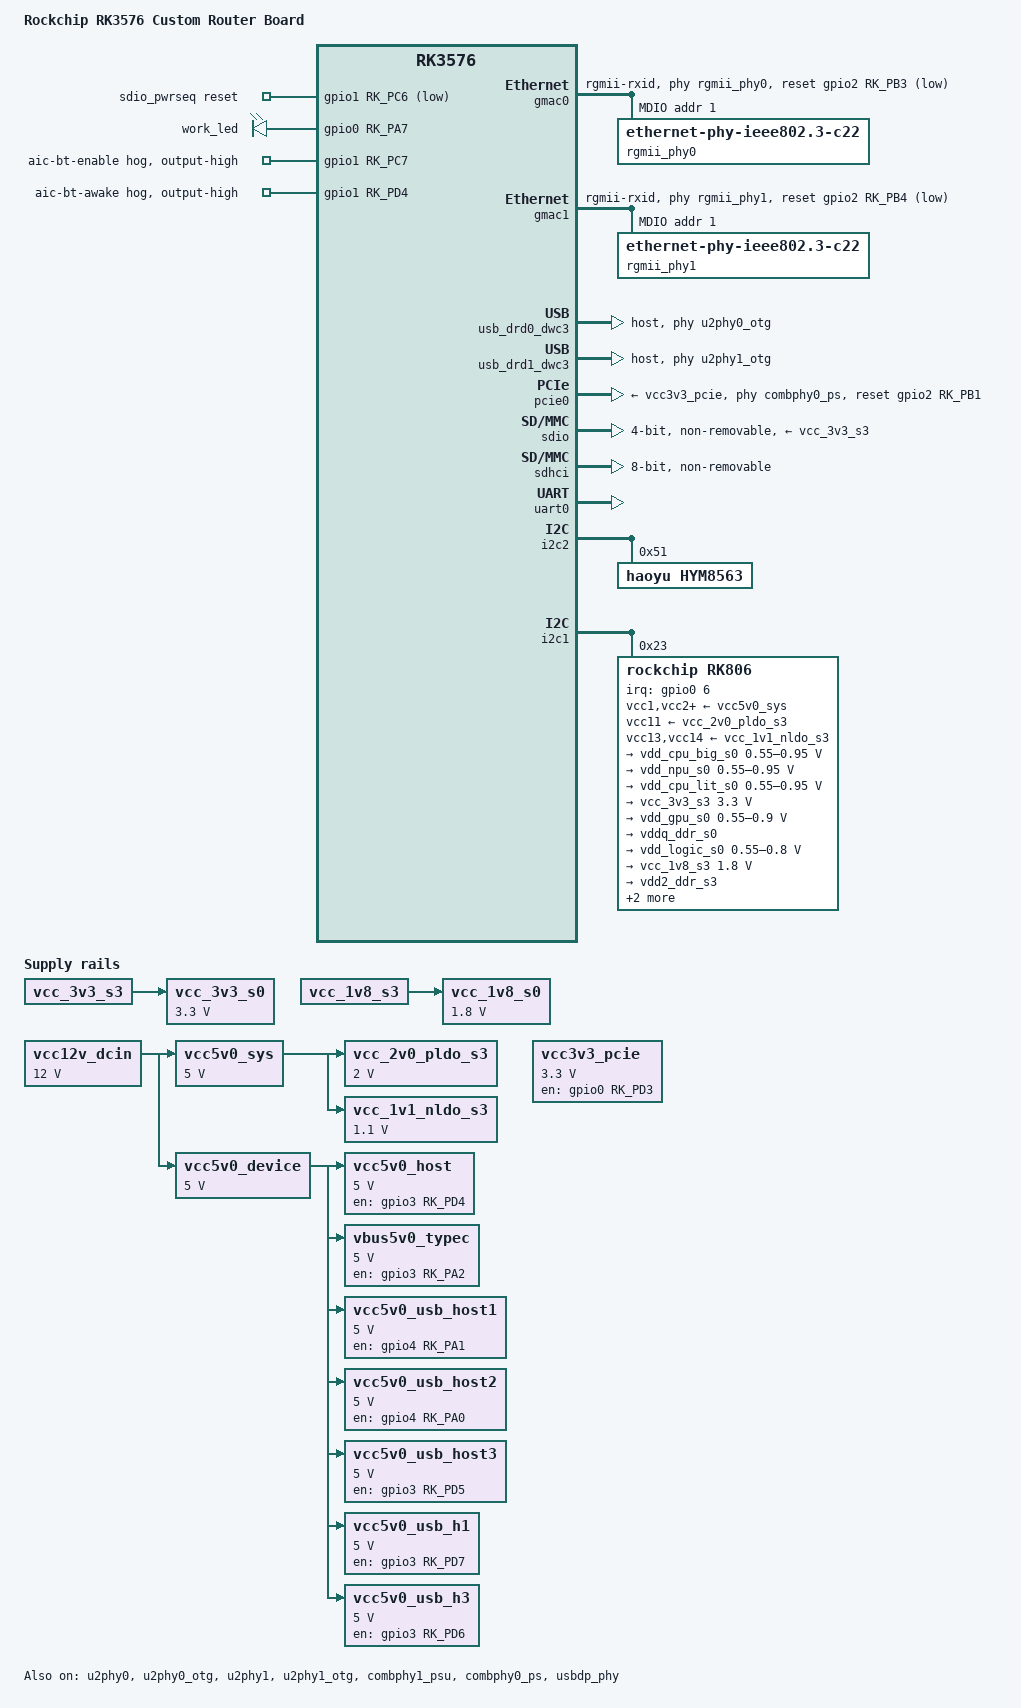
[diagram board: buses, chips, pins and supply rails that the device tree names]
// SPDX-License-Identifier: (GPL-2.0+ OR MIT)
/*
 * Copyright (c) 2026 OpenWrt / LEDE Project
 * Device Tree for Rockchip RK3576 Custom Board
 * Features:
 *  - Dual Gigabit Ethernet (GMAC0, GMAC1 / RGMII)
 *  - Dual USB 3.0 (DWC3 DRD0 & DRD1) + USB 2.0 Host / Hub
 *  - Display pipeline deferred: Android dump describes DSI/CS5518;
 *    no unverified DP controller is instantiated for this kernel.
 *  - PCIe 2.0 (RC Mode with 3.3V power regulator and PERST GPIO)
 *  - SKI.WB800D80S.1 (AIC8800D80) SDIO WiFi + native SDIO HCI Bluetooth
 *  - RK806 I2C PMIC and CPU regulator supplies
 *  - eMMC 5.1 Storage
 */

/dts-v1/;

#include <dt-bindings/clock/rockchip,rk3576-cru.h>
#include <dt-bindings/phy/phy.h>
#include <dt-bindings/gpio/gpio.h>
#include <dt-bindings/pinctrl/rockchip.h>
#include <dt-bindings/interrupt-controller/arm-gic.h>
#include <dt-bindings/interrupt-controller/irq.h>
#include "rk3576.dtsi"

/ {
	model = "Rockchip RK3576 Custom Router Board";
	compatible = "rockchip,rk3576-custom-router", "rockchip,rk3576";

	aliases {
		ethernet0 = &gmac0;
		ethernet1 = &gmac1;
		mmc0 = &sdhci;
		mmc1 = &sdio;
	};

	chosen {
		stdout-path = "serial0:1500000n8";
	};

	/* 电源输入 12V DC */
	vcc12v_dcin: vcc12v-dcin {
		compatible = "regulator-fixed";
		regulator-name = "vcc12v_dcin";
		regulator-always-on;
		regulator-boot-on;
		regulator-min-microvolt = <12000000>;
		regulator-max-microvolt = <12000000>;
	};

	/* 5V 系统总线电源 */
	vcc5v0_sys: vcc5v0-sys {
		compatible = "regulator-fixed";
		regulator-name = "vcc5v0_sys";
		regulator-always-on;
		regulator-boot-on;
		regulator-min-microvolt = <5000000>;
		regulator-max-microvolt = <5000000>;
		vin-supply = <&vcc12v_dcin>;
	};

	vcc5v0_device: vcc5v0-device {
		compatible = "regulator-fixed";
		regulator-name = "vcc5v0_device";
		regulator-always-on;
		regulator-boot-on;
		regulator-min-microvolt = <5000000>;
		regulator-max-microvolt = <5000000>;
		vin-supply = <&vcc12v_dcin>;
	};

	/* USB 5V VBUS 供电控制 (GPIO3_D4 = GPIO124, GPIO3_A2 = GPIO98) */
	vcc5v0_host: vcc5v0-host {
		compatible = "regulator-fixed";
		regulator-name = "vcc5v0_host";
		regulator-boot-on;
		regulator-always-on;
		regulator-min-microvolt = <5000000>;
		regulator-max-microvolt = <5000000>;
		enable-active-high;
		gpio = <&gpio3 RK_PD4 GPIO_ACTIVE_HIGH>;
		vin-supply = <&vcc5v0_device>;
		pinctrl-names = "default";
		pinctrl-0 = <&usb_host_pwren>;
	};

	vbus5v0_typec: vbus5v0-typec {
		compatible = "regulator-fixed";
		regulator-name = "vbus5v0_typec";
		regulator-min-microvolt = <5000000>;
		regulator-max-microvolt = <5000000>;
		enable-active-high;
		gpio = <&gpio3 RK_PA2 GPIO_ACTIVE_HIGH>;
		vin-supply = <&vcc5v0_device>;
		pinctrl-names = "default";
		pinctrl-0 = <&usb_otg0_pwren>;
	};

	/* USB Host 额外端口供电 (GPIO4_A1, GPIO4_A0, GPIO3_D5) */
	vcc5v0_usb_host1: vcc5v0-usb-host1 {
		compatible = "regulator-fixed";
		regulator-name = "vcc5v0_usb_host1";
		regulator-boot-on;
		regulator-always-on;
		regulator-min-microvolt = <5000000>;
		regulator-max-microvolt = <5000000>;
		enable-active-high;
		gpio = <&gpio4 RK_PA1 GPIO_ACTIVE_HIGH>;
		vin-supply = <&vcc5v0_device>;
	};

	vcc5v0_usb_host2: vcc5v0-usb-host2 {
		compatible = "regulator-fixed";
		regulator-name = "vcc5v0_usb_host2";
		regulator-boot-on;
		regulator-always-on;
		regulator-min-microvolt = <5000000>;
		regulator-max-microvolt = <5000000>;
		enable-active-high;
		gpio = <&gpio4 RK_PA0 GPIO_ACTIVE_HIGH>;
		vin-supply = <&vcc5v0_device>;
	};

	vcc5v0_usb_host3: vcc5v0-usb-host3 {
		compatible = "regulator-fixed";
		regulator-name = "vcc5v0_usb_host3";
		regulator-boot-on;
		regulator-always-on;
		regulator-min-microvolt = <5000000>;
		regulator-max-microvolt = <5000000>;
		enable-active-high;
		gpio = <&gpio3 RK_PD5 GPIO_ACTIVE_HIGH>;
		vin-supply = <&vcc5v0_device>;
	};

	/* EDF: GPIO3_D7 -> R71 -> U2.EN -> H1 VBUS. */
	vcc5v0_usb_h1: vcc5v0-usb-h1 {
		compatible = "regulator-fixed";
		regulator-name = "vcc5v0_usb_h1";
		regulator-boot-on;
		regulator-always-on;
		regulator-min-microvolt = <5000000>;
		regulator-max-microvolt = <5000000>;
		enable-active-high;
		gpio = <&gpio3 RK_PD7 GPIO_ACTIVE_HIGH>;
		vin-supply = <&vcc5v0_device>;
		pinctrl-names = "default";
		pinctrl-0 = <&usb_h1_pwren>;
	};

	/* EDF: GPIO3_D6 -> R102 -> U17.EN -> H3 VBUS. */
	vcc5v0_usb_h3: vcc5v0-usb-h3 {
		compatible = "regulator-fixed";
		regulator-name = "vcc5v0_usb_h3";
		regulator-boot-on;
		regulator-always-on;
		regulator-min-microvolt = <5000000>;
		regulator-max-microvolt = <5000000>;
		enable-active-high;
		gpio = <&gpio3 RK_PD6 GPIO_ACTIVE_HIGH>;
		vin-supply = <&vcc5v0_device>;
		pinctrl-names = "default";
		pinctrl-0 = <&usb_h3_pwren>;
	};

	/* PCIe 3.3V 供电控制 (GPIO0_D3 = GPIO27) */
	vcc3v3_pcie: vcc3v3-pcie-regulator {
		compatible = "regulator-fixed";
		regulator-name = "vcc3v3_pcie";
		enable-active-high;
		regulator-always-on;
		regulator-boot-on;
		regulator-min-microvolt = <3300000>;
		regulator-max-microvolt = <3300000>;
		gpio = <&gpio0 RK_PD3 GPIO_ACTIVE_HIGH>;
	};

	/* SDIO WiFi 电源时序控制 (GPIO1_C6 = GPIO54 负责 WiFi 上电复位) */
	sdio_pwrseq: sdio-pwrseq {
		compatible = "mmc-pwrseq-simple";
		clocks = <&hym8563>;
		clock-names = "ext_clock";
		pinctrl-names = "default";
		pinctrl-0 = <&wifi_poweren_gpio>;
		post-power-on-delay-ms = <200>;
		reset-gpios = <&gpio1 RK_PC6 GPIO_ACTIVE_LOW>;
		status = "okay";
	};

	/* External converters and hardware-switched S0 rails; no GPIO ownership. */
	vcc_2v0_pldo_s3: regulator-vcc-2v0-pldo-s3 {
		compatible = "regulator-fixed";
		regulator-name = "vcc_2v0_pldo_s3";
		regulator-min-microvolt = <2000000>;
		regulator-max-microvolt = <2000000>;
		regulator-always-on;
		regulator-boot-on;
		vin-supply = <&vcc5v0_sys>;
	};

	vcc_1v1_nldo_s3: regulator-vcc-1v1-nldo-s3 {
		compatible = "regulator-fixed";
		regulator-name = "vcc_1v1_nldo_s3";
		regulator-min-microvolt = <1100000>;
		regulator-max-microvolt = <1100000>;
		regulator-always-on;
		regulator-boot-on;
		vin-supply = <&vcc5v0_sys>;
	};

	vcc_3v3_s0: regulator-vcc-3v3-s0 {
		compatible = "regulator-fixed";
		regulator-name = "vcc_3v3_s0";
		regulator-min-microvolt = <3300000>;
		regulator-max-microvolt = <3300000>;
		regulator-always-on;
		regulator-boot-on;
		vin-supply = <&vcc_3v3_s3>;
	};

	vcc_1v8_s0: regulator-vcc-1v8-s0 {
		compatible = "regulator-fixed";
		regulator-name = "vcc_1v8_s0";
		regulator-min-microvolt = <1800000>;
		regulator-max-microvolt = <1800000>;
		regulator-always-on;
		regulator-boot-on;
		vin-supply = <&vcc_1v8_s3>;
	};

	/* 板载状态指示灯 (GPIO0_A7 = GPIO7) */
	leds: leds {
		compatible = "gpio-leds";

		work_led: work {
			gpios = <&gpio0 RK_PA7 GPIO_ACTIVE_HIGH>;
			linux,default-trigger = "heartbeat";
			default-state = "on";
		};
	};

	/* Display migration is deferred, not converted to native HDMI.
	 * Android dump: CS5518 at I2C3/0x39, LCD power GPIO0_C6,
	 * panel enable GPIO0_C7. BSP driver/DSI graph need a separate port.
	 */
};

/* =========================================================================
 * 1. 千兆网口 GMAC0 (LAN / WAN) - RGMII-RXID 模式
 * ========================================================================= */
&gmac0 {
	phy-mode = "rgmii-rxid";
	clock_in_out = "output";
	snps,reset-gpio = <&gpio2 RK_PB3 GPIO_ACTIVE_LOW>;
	snps,reset-active-low;
	snps,reset-delays-us = <0 20000 100000>;
	pinctrl-names = "default";
	pinctrl-0 = <&eth0m0_miim
		     &eth0m0_tx_bus2
		     &eth0m0_rx_bus2
		     &eth0m0_rgmii_clk
		     &eth0m0_rgmii_bus
		     &ethm0_clk0_25m_out>;
	tx_delay = <0x21>;
	assigned-clocks = <&cru CLK_GMAC0_125M_SRC>;
	assigned-clock-rates = <125000000>;
	phy-handle = <&rgmii_phy0>;
	status = "okay";

	mdio0: mdio {
		compatible = "snps,dwmac-mdio";
		#address-cells = <1>;
		#size-cells = <0>;

		rgmii_phy0: phy@1 {
			compatible = "ethernet-phy-ieee802.3-c22";
			reg = <0x1>;
			clocks = <&cru REFCLKO25M_GMAC0_OUT>;
			assigned-clocks = <&cru REFCLKO25M_GMAC0_OUT>;
			assigned-clock-rates = <25000000>;
		};
	};
};

/* =========================================================================
 * 2. 千兆网口 GMAC1 (LAN / WAN) - RGMII-RXID 模式
 * ========================================================================= */
&gmac1 {
	phy-mode = "rgmii-rxid";
	clock_in_out = "output";
	snps,reset-gpio = <&gpio2 RK_PB4 GPIO_ACTIVE_LOW>;
	snps,reset-active-low;
	snps,reset-delays-us = <0 20000 100000>;
	pinctrl-names = "default";
	pinctrl-0 = <&eth1m0_miim
		     &eth1m0_tx_bus2
		     &eth1m0_rx_bus2
		     &eth1m0_rgmii_clk
		     &eth1m0_rgmii_bus
		     &ethm0_clk1_25m_out>;
	tx_delay = <0x20>;
	assigned-clocks = <&cru CLK_GMAC1_125M_SRC>;
	assigned-clock-rates = <125000000>;
	phy-handle = <&rgmii_phy1>;
	status = "okay";

	mdio1: mdio {
		compatible = "snps,dwmac-mdio";
		#address-cells = <1>;
		#size-cells = <0>;

		rgmii_phy1: phy@1 {
			compatible = "ethernet-phy-ieee802.3-c22";
			reg = <0x1>;
			clocks = <&cru REFCLKO25M_GMAC1_OUT>;
			assigned-clocks = <&cru REFCLKO25M_GMAC1_OUT>;
			assigned-clock-rates = <25000000>;
		};
	};
};

/* =========================================================================
 * 3. 双 USB 3.0 / USB 2.0 (DWC3 控制器及对应 PHY)
 * ========================================================================= */
/* USB 2.0 PHY 0 & 1 */
&u2phy0 {
	status = "okay";
};

&u2phy0_otg {
	status = "okay";
	/* Generic PHY supply enables the existing VBUS rail in fixed host mode.
	 * Preserve the original GPIO; its Type-A VBUS routing needs board testing.
	 */
	phy-supply = <&vbus5v0_typec>;
};

&u2phy1 {
	status = "okay";
};

&u2phy1_otg {
	status = "okay";
	phy-supply = <&vcc5v0_host>;
};

/* USB3 Combo PHY (PIPE PHY 1: 配合 USB3 DRD1 使用) */
&combphy1_psu {
	status = "okay";
};

/* USB0 is wired to a fixed Type-A host, not a dual-role Type-C port.
 * Avoid the unused OTG role-switch path; host/USB3 operation needs testing.
 */
&usb_drd0_dwc3 {
	dr_mode = "host";
	status = "okay";
	phys = <&u2phy0_otg>, <&usbdp_phy PHY_TYPE_USB3>;
	phy-names = "usb2-phy", "usb3-phy";
};

/* USB 3.0 控制器 1 (标准 USB 3.0 Host 接口) */
&usb_drd1_dwc3 {
	dr_mode = "host";
	status = "okay";
	phys = <&u2phy1_otg>, <&combphy1_psu PHY_TYPE_USB3>;
	phy-names = "usb2-phy", "usb3-phy";
};

/* =========================================================================
 * 4. PCIe 2.0 接口 (支持 PCIe 网卡 / NVMe / 5G 模块)
 * ========================================================================= */
&combphy0_ps {
	status = "okay";
};

&pcie0 {
	/* Linux 6.18.58 pcie-dw-rockchip drives 0 to reset, 1 to release.
	 * Keep ACTIVE_HIGH as in the Android dump; do not invert PERST# here.
	 */
	reset-gpios = <&gpio2 RK_PB1 GPIO_ACTIVE_HIGH>;
	vpcie3v3-supply = <&vcc3v3_pcie>;
	phys = <&combphy0_ps PHY_TYPE_PCIE>;
	phy-names = "pcie-phy";
	pinctrl-names = "default";
	pinctrl-0 = <&pcie0m0_pins>;
	rockchip,skip-scan-in-resume;
	status = "okay";
};

/* =========================================================================
 * 5. USB-DP combo PHY: use mainline single-provider USB3 binding.
 *    Display remains deferred pending the board's DSI/CS5518 driver port.
 *    This does not assert that the physical board lacks DisplayPort.
 * ========================================================================= */
&usbdp_phy {
	/* Fixed split from the board wiring and Android DT: USB on RX1/TX1,
	 * DP on the remaining pair of lanes. This does not enable DP display.
	 */
	rockchip,dp-lane-mux = <2 3>;
	status = "okay";
};

/* =========================================================================
 * 6. SDIO WiFi 模块接口 (MMC1)
 * ========================================================================= */
&sdio {
	max-frequency = <150000000>;
	no-sd;
	no-mmc;
	supports-sdio;
	bus-width = <4>;
	disable-wp;
	cap-sd-highspeed;
	cap-sdio-irq;
	keep-power-in-suspend;
	vmmc-supply = <&vcc_3v3_s3>;
	vqmmc-supply = <&vcc_1v8_s3>;
	mmc-pwrseq = <&sdio_pwrseq>;
	non-removable;
	rockchip,default-sample-phase = <90>;
	sd-uhs-sdr104;
	pinctrl-names = "default";
	pinctrl-0 = <&sdmmc1m0_bus4 &sdmmc1m0_cmd &sdmmc1m0_clk>;
	status = "okay";
};

/* =========================================================================
 * 7. eMMC 5.1 板载存储
 * ========================================================================= */
&sdhci {
	bus-width = <8>;
	no-sdio;
	no-sd;
	non-removable;
	max-frequency = <200000000>;
	/* HS200 SDR fallback; keep CQE unchanged to test timing separately. */
	mmc-hs200-1_8v;
	no-mmc-hs400;
	full-pwr-cycle-in-suspend;
	status = "okay";
};

/* =========================================================================
 * 8. 调试串口与蓝牙串口
 * ========================================================================= */
/* 调试串口 UART0 (波特率 1500000) */
&uart0 {
	pinctrl-names = "default";
	pinctrl-0 = <&uart0m0_xfer>;
	status = "okay";
};

/* U1.CLKOUT -> R6 -> R181 -> U6016.LPO. No SoC alarm IRQ
 * is declared: U1.INT goes to the discrete wake circuit, not a proven GPIO.
 */
&i2c2 {
	pinctrl-names = "default";
	pinctrl-0 = <&i2c2m0_xfer>;
	status = "okay";

	hym8563: rtc@51 {
		compatible = "haoyu,hym8563";
		reg = <0x51>;
		#clock-cells = <0>;
		clock-output-names = "hym8563";
	};
};

/* AIC firmware selects its SDIO mailbox HCI transport (CONFIG_SDIO_BT=y).
 * UART4 is physically wired but unused; no fake Broadcom serdev child.
 */
&uart4 {
	status = "disabled";
};

/* No BT low-power handshake is enabled by the native AIC package.
 * Keep BT enable and host-to-device wake asserted for the initial SDIO mode.
 * GPIO0_B1 device-to-host wake is not used as an unverified suspend IRQ.
 */
&gpio1 {
	bt-enable-hog {
		gpio-hog;
		gpios = <RK_PC7 GPIO_ACTIVE_HIGH>;
		output-high;
		line-name = "aic-bt-enable";
	};

	bt-awake-hog {
		gpio-hog;
		gpios = <RK_PD4 GPIO_ACTIVE_HIGH>;
		output-high;
		line-name = "aic-bt-awake";
	};
};

/* =========================================================================
 * 9. Pinctrl 引脚定义补充
 * ========================================================================= */
&pinctrl {
	usb {
		usb_host_pwren: usb-host-pwren {
			rockchip,pins = <3 RK_PD4 RK_FUNC_GPIO &pcfg_pull_none>;
		};

		usb_otg0_pwren: usb-otg0-pwren {
			rockchip,pins = <3 RK_PA2 RK_FUNC_GPIO &pcfg_pull_none>;
		};

		usb_h1_pwren: usb-h1-pwren {
			rockchip,pins = <3 RK_PD7 RK_FUNC_GPIO &pcfg_pull_none>;
		};

		usb_h3_pwren: usb-h3-pwren {
			rockchip,pins = <3 RK_PD6 RK_FUNC_GPIO &pcfg_pull_none>;
		};
	};

	wireless-wlan {
		/* SDIO in-band IRQ is used; no unverified GPIO0_B0 wake IRQ. */
		wifi_poweren_gpio: wifi-poweren-gpio {
			rockchip,pins = <1 RK_PC6 RK_FUNC_GPIO &pcfg_pull_none>;
		};
	};

};

/* RK806 power tree: LEDE rock-4d policy, board Android voltage limits. */

/* CPU regulator bindings, following LEDE rock-4d. */
&cpu_b0 {
	cpu-supply = <&vdd_cpu_big_s0>;
};

&cpu_b1 {
	cpu-supply = <&vdd_cpu_big_s0>;
};

&cpu_b2 {
	cpu-supply = <&vdd_cpu_big_s0>;
};

&cpu_b3 {
	cpu-supply = <&vdd_cpu_big_s0>;
};

&cpu_l0 {
	cpu-supply = <&vdd_cpu_lit_s0>;
};

&cpu_l1 {
	cpu-supply = <&vdd_cpu_lit_s0>;
};

&cpu_l2 {
	cpu-supply = <&vdd_cpu_lit_s0>;
};

&cpu_l3 {
	cpu-supply = <&vdd_cpu_lit_s0>;
};

&i2c1 {
	pinctrl-names = "default";
	pinctrl-0 = <&i2c1m0_xfer>;
	status = "okay";

	rk806: pmic@23 {
		compatible = "rockchip,rk806";
		reg = <0x23>;
		#gpio-cells = <2>;
		gpio-controller;
		interrupt-parent = <&gpio0>;
		interrupts = <6 IRQ_TYPE_LEVEL_LOW>;
		pinctrl-names = "default";
		pinctrl-0 = <&pmic_pins &rk806_dvs1_null
			     &rk806_dvs2_null &rk806_dvs3_null>;
		system-power-controller;
		vcc1-supply = <&vcc5v0_sys>;
		vcc2-supply = <&vcc5v0_sys>;
		vcc3-supply = <&vcc5v0_sys>;
		vcc4-supply = <&vcc5v0_sys>;
		vcc5-supply = <&vcc5v0_sys>;
		vcc6-supply = <&vcc5v0_sys>;
		vcc7-supply = <&vcc5v0_sys>;
		vcc8-supply = <&vcc5v0_sys>;
		vcc9-supply = <&vcc5v0_sys>;
		vcc10-supply = <&vcc5v0_sys>;
		vcc11-supply = <&vcc_2v0_pldo_s3>;
		vcc12-supply = <&vcc5v0_sys>;
		vcc13-supply = <&vcc_1v1_nldo_s3>;
		vcc14-supply = <&vcc_1v1_nldo_s3>;
		vcca-supply = <&vcc5v0_sys>;

		/* LEDE native PWRCTRL policy; A4 is PMIC_SLEEP, never a GPIO hog. */
		rk806_dvs1_null: dvs1-null-pins {
			pins = "gpio_pwrctrl1";
			function = "pin_fun0";
		};

		rk806_dvs2_null: dvs2-null-pins {
			pins = "gpio_pwrctrl2";
			function = "pin_fun0";
		};

		rk806_dvs3_null: dvs3-null-pins {
			pins = "gpio_pwrctrl3";
			function = "pin_fun0";
		};


		regulators {
			vdd_cpu_big_s0: dcdc-reg1 {
				regulator-always-on;
				regulator-boot-on;
				regulator-enable-ramp-delay = <400>;
				regulator-min-microvolt = <550000>;
				regulator-max-microvolt = <950000>;
				regulator-name = "vdd_cpu_big_s0";
				regulator-ramp-delay = <12500>;
				regulator-state-mem {
					regulator-off-in-suspend;
				};
			};

			vdd_npu_s0: dcdc-reg2 {
				regulator-boot-on;
				regulator-enable-ramp-delay = <400>;
				regulator-min-microvolt = <550000>;
				regulator-max-microvolt = <950000>;
				regulator-name = "vdd_npu_s0";
				regulator-ramp-delay = <12500>;
				regulator-state-mem {
					regulator-off-in-suspend;
				};
			};

			vdd_cpu_lit_s0: dcdc-reg3 {
				regulator-always-on;
				regulator-boot-on;
				regulator-min-microvolt = <550000>;
				regulator-max-microvolt = <950000>;
				regulator-name = "vdd_cpu_lit_s0";
				regulator-ramp-delay = <12500>;
				regulator-state-mem {
					regulator-off-in-suspend;
					regulator-suspend-microvolt = <750000>;
				};
			};

			vcc_3v3_s3: dcdc-reg4 {
				regulator-always-on;
				regulator-boot-on;
				regulator-min-microvolt = <3300000>;
				regulator-max-microvolt = <3300000>;
				regulator-name = "vcc_3v3_s3";
				regulator-state-mem {
					regulator-on-in-suspend;
					regulator-suspend-microvolt = <3300000>;
				};
			};

			vdd_gpu_s0: dcdc-reg5 {
				regulator-boot-on;
				regulator-enable-ramp-delay = <400>;
				regulator-min-microvolt = <550000>;
				regulator-max-microvolt = <900000>;
				regulator-name = "vdd_gpu_s0";
				regulator-ramp-delay = <12500>;
				regulator-state-mem {
					regulator-off-in-suspend;
					regulator-suspend-microvolt = <850000>;
				};
			};

			vddq_ddr_s0: dcdc-reg6 {
				regulator-always-on;
				regulator-boot-on;
				regulator-name = "vddq_ddr_s0";
				regulator-state-mem {
					regulator-off-in-suspend;
				};
			};

			vdd_logic_s0: dcdc-reg7 {
				regulator-always-on;
				regulator-boot-on;
				regulator-min-microvolt = <550000>;
				regulator-max-microvolt = <800000>;
				regulator-name = "vdd_logic_s0";
				regulator-state-mem {
					regulator-off-in-suspend;
				};
			};

			vcc_1v8_s3: dcdc-reg8 {
				regulator-always-on;
				regulator-boot-on;
				regulator-min-microvolt = <1800000>;
				regulator-max-microvolt = <1800000>;
				regulator-name = "vcc_1v8_s3";
				regulator-state-mem {
					regulator-on-in-suspend;
					regulator-suspend-microvolt = <1800000>;
				};
			};

			vdd2_ddr_s3: dcdc-reg9 {
				regulator-always-on;
				regulator-boot-on;
				regulator-name = "vdd2_ddr_s3";
				regulator-state-mem {
					regulator-on-in-suspend;
				};
			};

			vdd_ddr_s0: dcdc-reg10 {
				regulator-always-on;
				regulator-boot-on;
				regulator-min-microvolt = <550000>;
				regulator-max-microvolt = <1200000>;
				regulator-name = "vdd_ddr_s0";
				regulator-state-mem {
					regulator-off-in-suspend;
				};
			};

			vcca_1v8_s0: pldo-reg1 {
				regulator-always-on;
				regulator-boot-on;
				regulator-min-microvolt = <1800000>;
				regulator-max-microvolt = <1800000>;
				regulator-name = "vcca_1v8_s0";
				regulator-state-mem {
					regulator-off-in-suspend;
				};
			};

			vcca1v8_pldo2_s0: pldo-reg2 {
				regulator-always-on;
				regulator-boot-on;
				regulator-min-microvolt = <1800000>;
				regulator-max-microvolt = <1800000>;
				regulator-name = "vcca1v8_pldo2_s0";
				regulator-state-mem {
					regulator-off-in-suspend;
				};
			};

			vdda_1v2_s0: pldo-reg3 {
				regulator-always-on;
				regulator-boot-on;
				regulator-min-microvolt = <1200000>;
				regulator-max-microvolt = <1200000>;
				regulator-name = "vdda_1v2_s0";
				regulator-state-mem {
					regulator-off-in-suspend;
				};
			};

			vcca_3v3_s0: pldo-reg4 {
				regulator-always-on;
				regulator-boot-on;
				regulator-min-microvolt = <3300000>;
				regulator-max-microvolt = <3300000>;
				regulator-name = "vcca_3v3_s0";
				regulator-state-mem {
					regulator-off-in-suspend;
				};
			};

			vccio_sd_s0: pldo-reg5 {
				regulator-always-on;
				regulator-boot-on;
				regulator-min-microvolt = <1800000>;
				regulator-max-microvolt = <3300000>;
				regulator-name = "vccio_sd_s0";
				regulator-state-mem {
					regulator-off-in-suspend;
				};
			};

			vcca1v8_pldo6_s3: pldo-reg6 {
				regulator-always-on;
				regulator-boot-on;
				regulator-min-microvolt = <1800000>;
				regulator-max-microvolt = <1800000>;
				regulator-name = "vcca1v8_pldo6_s3";
				regulator-state-mem {
					regulator-on-in-suspend;
					regulator-suspend-microvolt = <1800000>;
				};
			};

			vdd_0v75_s3: nldo-reg1 {
				regulator-always-on;
				regulator-boot-on;
				regulator-min-microvolt = <750000>;
				regulator-max-microvolt = <750000>;
				regulator-name = "vdd_0v75_s3";
				regulator-state-mem {
					regulator-on-in-suspend;
					regulator-suspend-microvolt = <750000>;
				};
			};

			vdda_ddr_pll_s0: nldo-reg2 {
				regulator-always-on;
				regulator-boot-on;
				regulator-min-microvolt = <850000>;
				regulator-max-microvolt = <850000>;
				regulator-name = "vdda_ddr_pll_s0";
				regulator-state-mem {
					regulator-off-in-suspend;
				};
			};

			vdda0v75_hdmi_s0: nldo-reg3 {
				regulator-always-on;
				regulator-boot-on;
				regulator-min-microvolt = <837500>;
				regulator-max-microvolt = <837500>;
				regulator-name = "vdda0v75_hdmi_s0";
				regulator-state-mem {
					regulator-off-in-suspend;
				};
			};

			vdda_0v85_s0: nldo-reg4 {
				regulator-always-on;
				regulator-boot-on;
				regulator-min-microvolt = <850000>;
				regulator-max-microvolt = <850000>;
				regulator-name = "vdda_0v85_s0";
				regulator-state-mem {
					regulator-off-in-suspend;
				};
			};

			vdda_0v75_s0: nldo-reg5 {
				regulator-always-on;
				regulator-boot-on;
				regulator-min-microvolt = <750000>;
				regulator-max-microvolt = <750000>;
				regulator-name = "vdda_0v75_s0";
				regulator-state-mem {
					regulator-off-in-suspend;
				};
			};
		};
	};
};
